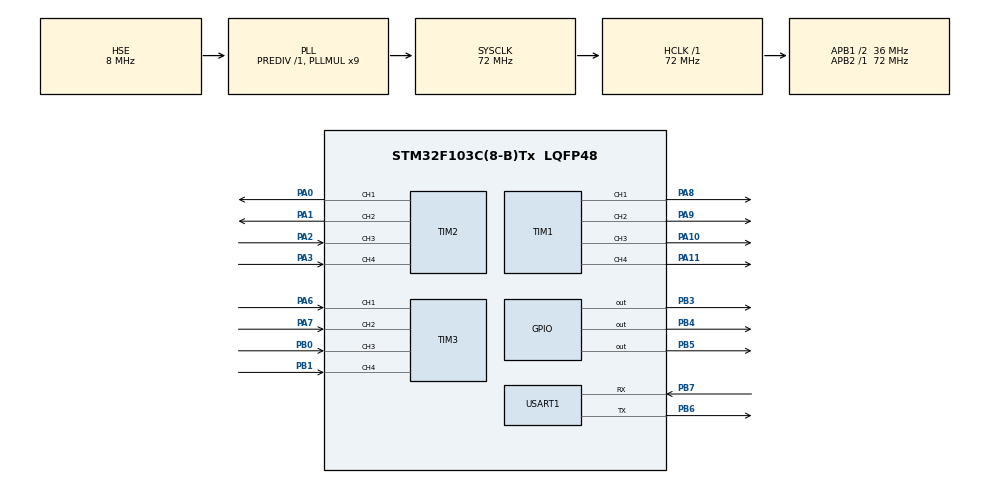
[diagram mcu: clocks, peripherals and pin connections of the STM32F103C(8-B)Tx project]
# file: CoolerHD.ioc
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Mcu.Family=STM32F1
Mcu.Name=STM32F103C(8-B)Tx
Mcu.Package=LQFP48
NVIC.PriorityGroup=NVIC_PRIORITYGROUP_4
PA0-WKUP.Signal=S_TIM2_CH1_ETR
PA1.Signal=S_TIM2_CH2
PA10.Signal=S_TIM1_CH3
PA11.Signal=S_TIM1_CH4
PA13.Mode=Serial_Wire
PA13.Signal=SYS_JTMS-SWDIO
PA14.Mode=Serial_Wire
PA14.Signal=SYS_JTCK-SWCLK
PA2.Signal=S_TIM2_CH3
PA3.Signal=S_TIM2_CH4
PA6.Signal=S_TIM3_CH1
PA7.Signal=S_TIM3_CH2
PA8.Signal=S_TIM1_CH1
PA9.Signal=S_TIM1_CH2
PB0.Signal=S_TIM3_CH3
PB1.Signal=S_TIM3_CH4
PB3.Signal=GPIO_Output
PB4.Signal=GPIO_Output
PB5.Signal=GPIO_Output
PB6.Mode=Asynchronous
PB6.Signal=USART1_TX
PB7.Mode=Asynchronous
PB7.Signal=USART1_RX
PD0-OSC_IN.Mode=HSE-External-Oscillator
PD0-OSC_IN.Signal=RCC_OSC_IN
PD1-OSC_OUT.Mode=HSE-External-Oscillator
PD1-OSC_OUT.Signal=RCC_OSC_OUT
ProjectManager.HeapSize=0x200
ProjectManager.StackSize=0x400
ProjectManager.TargetToolchain=MDK-ARM V5.32
RCC.AHBFreq_Value=72000000
RCC.APB1CLKDivider=RCC_HCLK_DIV2
RCC.APB1Freq_Value=36000000
RCC.APB1TimFreq_Value=72000000
RCC.APB2Freq_Value=72000000
RCC.APB2TimFreq_Value=72000000
RCC.HCLKFreq_Value=72000000
RCC.PLLMUL=RCC_PLL_MUL9
RCC.PLLSourceVirtual=RCC_PLLSOURCE_HSE
RCC.SYSCLKFreq_VALUE=72000000
RCC.SYSCLKSource=RCC_SYSCLKSOURCE_PLLCLK
RCC.USBFreq_Value=72000000
SH.S_TIM1_CH1.0=TIM1_CH1,PWM Generation1 CH1
SH.S_TIM1_CH2.0=TIM1_CH2,PWM Generation2 CH2
SH.S_TIM1_CH3.0=TIM1_CH3,PWM Generation3 CH3
SH.S_TIM1_CH4.0=TIM1_CH4,PWM Generation4 CH4
SH.S_TIM2_CH1_ETR.0=TIM2_CH1,PWM Generation1 CH1
SH.S_TIM2_CH2.0=TIM2_CH2,PWM Generation2 CH2
SH.S_TIM2_CH3.0=TIM2_CH3,Input_Capture3_from_TI3
SH.S_TIM2_CH4.0=TIM2_CH4,Input_Capture4_from_TI4
SH.S_TIM3_CH1.0=TIM3_CH1,Input_Capture1_from_TI1
SH.S_TIM3_CH2.0=TIM3_CH2,Input_Capture2_from_TI2
SH.S_TIM3_CH3.0=TIM3_CH3,Input_Capture3_from_TI3
SH.S_TIM3_CH4.0=TIM3_CH4,Input_Capture4_from_TI4
TIM1.Channel-PWM\ Generation1\ CH1=TIM_CHANNEL_1
TIM1.Channel-PWM\ Generation2\ CH2=TIM_CHANNEL_2
TIM1.Channel-PWM\ Generation3\ CH3=TIM_CHANNEL_3
TIM1.Channel-PWM\ Generation4\ CH4=TIM_CHANNEL_4
TIM2.Channel-Input_Capture3_from_TI3=TIM_CHANNEL_3
TIM2.Channel-Input_Capture4_from_TI4=TIM_CHANNEL_4
TIM2.Channel-PWM\ Generation1\ CH1=TIM_CHANNEL_1
TIM2.Channel-PWM\ Generation2\ CH2=TIM_CHANNEL_2
TIM3.Channel-Input_Capture1_from_TI1=TIM_CHANNEL_1
TIM3.Channel-Input_Capture2_from_TI2=TIM_CHANNEL_2
TIM3.Channel-Input_Capture3_from_TI3=TIM_CHANNEL_3
TIM3.Channel-Input_Capture4_from_TI4=TIM_CHANNEL_4
USART1.VirtualMode=VM_ASYNC
board=custom

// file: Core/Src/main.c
/* USER CODE BEGIN Header */
/**
  ******************************************************************************
  * @file           : main.c
  * @brief          : Main program body
  ******************************************************************************
  * @attention
  *
  * Copyright (c) 2026 STMicroelectronics.
  * All rights reserved.
  *
  * This software is licensed under terms that can be found in the LICENSE file
  * in the root directory of this software component.
  * If no LICENSE file comes with this software, it is provided AS-IS.
  *
  ******************************************************************************
  */
/* USER CODE END Header */
#include "main.h"

/* USER CODE BEGIN Includes */
#include "led.h"
#include "fan.h"
#include "uart_protocol.h"
/* USER CODE END Includes */

TIM_HandleTypeDef htim1;
TIM_HandleTypeDef htim2;
TIM_HandleTypeDef htim3;

UART_HandleTypeDef huart1;

void SystemClock_Config(void);
static void MX_GPIO_Init(void);
static void MX_TIM1_Init(void);
static void MX_TIM2_Init(void);
static void MX_TIM3_Init(void);
static void MX_USART1_UART_Init(void);

int main(void)
{

  /* MCU Configuration--------------------------------------------------------*/

  /* Reset of all peripherals, Initializes the Flash interface and the Systick. */
  HAL_Init();

  /* Configure the system clock */
  SystemClock_Config();

  /* Initialize all configured peripherals */
  MX_GPIO_Init();
  MX_TIM1_Init();
  MX_TIM2_Init();
  MX_TIM3_Init();
  MX_USART1_UART_Init();
  /* USER CODE BEGIN 2 */
  /* Startup power stabilization and guaranteed ST-Link attach window */
  HAL_Delay(300);

  /* Initialize LED indicators & safe JTAG disable (protects SWD) */
  LED_Init();

  /* Initialize 6-channel Fans (TIM1 & TIM2 PWM @ 25kHz, 6 EXTI TACH, DWT cycle timer) */
  Fan_Init(&htim1, &htim2);

  /* Initialize USART1 protocol engine (115200 8-N-1, PB6=TX, PB7=RX) */
  UartProtocol_Init(&huart1);
  /* USER CODE END 2 */

  /* Infinite loop */
  /* USER CODE BEGIN WHILE */
  uint32_t last_fan_control_tick = 0;
  uint32_t last_led_update_tick = 0;

  while (1)
  {
    uint32_t now = HAL_GetTick();

    /* 1. Closed loop fan control task (every 50ms) */
    if (now - last_fan_control_tick >= 50) {
      last_fan_control_tick = now;
      Fan_ControlLoopTask();
    }

    /* 2. LED state check & blinking task (every 50ms) */
    if (now - last_led_update_tick >= 50) {
      last_led_update_tick = now;

      /* Fan 1-3 met -> STATE1 solid ON, else BLINK
       * Fan 4-6 met -> STATE2 solid ON, else BLINK
       * Any Fan speed == 0 -> ERROR BLINK, else OFF
       */
      LED_UpdateFromFans(Fan_IsFans1_3_Met(), Fan_IsFans4_6_Met(), Fan_HasZeroSpeed());
      LED_UpdateTask();
    }

    /* 3. UART protocol task (command processing & 0.5s auto telemetry) */
    UartProtocol_Task();
    /* USER CODE END WHILE */

  }
}

void SystemClock_Config(void)
{
  RCC_OscInitTypeDef RCC_OscInitStruct = {0};
  RCC_ClkInitTypeDef RCC_ClkInitStruct = {0};

  /** Initializes the RCC Oscillators according to the specified parameters
  * in the RCC_OscInitTypeDef structure.
  */
  RCC_OscInitStruct.OscillatorType = RCC_OSCILLATORTYPE_HSE;
  RCC_OscInitStruct.HSEState = RCC_HSE_ON;
  RCC_OscInitStruct.HSEPredivValue = RCC_HSE_PREDIV_DIV1;
  RCC_OscInitStruct.HSIState = RCC_HSI_ON;
  RCC_OscInitStruct.PLL.PLLState = RCC_PLL_ON;
  RCC_OscInitStruct.PLL.PLLSource = RCC_PLLSOURCE_HSE;
  RCC_OscInitStruct.PLL.PLLMUL = RCC_PLL_MUL9;
  if (HAL_RCC_OscConfig(&RCC_OscInitStruct) != HAL_OK)
  {
    Error_Handler();
  }

  /** Initializes the CPU, AHB and APB buses clocks
  */
  RCC_ClkInitStruct.ClockType = RCC_CLOCKTYPE_HCLK|RCC_CLOCKTYPE_SYSCLK
                              |RCC_CLOCKTYPE_PCLK1|RCC_CLOCKTYPE_PCLK2;
  RCC_ClkInitStruct.SYSCLKSource = RCC_SYSCLKSOURCE_PLLCLK;
  RCC_ClkInitStruct.AHBCLKDivider = RCC_SYSCLK_DIV1;
  RCC_ClkInitStruct.APB1CLKDivider = RCC_HCLK_DIV2;
  RCC_ClkInitStruct.APB2CLKDivider = RCC_HCLK_DIV1;

  if (HAL_RCC_ClockConfig(&RCC_ClkInitStruct, FLASH_LATENCY_2) != HAL_OK)
  {
    Error_Handler();
  }
}

static void MX_TIM1_Init(void)
{

  TIM_MasterConfigTypeDef sMasterConfig = {0};
  TIM_OC_InitTypeDef sConfigOC = {0};
  TIM_BreakDeadTimeConfigTypeDef sBreakDeadTimeConfig = {0};

  htim1.Instance = TIM1;
  htim1.Init.Prescaler = 0;
  htim1.Init.CounterMode = TIM_COUNTERMODE_UP;
  htim1.Init.Period = 65535;
  htim1.Init.ClockDivision = TIM_CLOCKDIVISION_DIV1;
  htim1.Init.RepetitionCounter = 0;
  htim1.Init.AutoReloadPreload = TIM_AUTORELOAD_PRELOAD_DISABLE;
  if (HAL_TIM_PWM_Init(&htim1) != HAL_OK)
  {
    Error_Handler();
  }
  sMasterConfig.MasterOutputTrigger = TIM_TRGO_RESET;
  sMasterConfig.MasterSlaveMode = TIM_MASTERSLAVEMODE_DISABLE;
  if (HAL_TIMEx_MasterConfigSynchronization(&htim1, &sMasterConfig) != HAL_OK)
  {
    Error_Handler();
  }
  sConfigOC.OCMode = TIM_OCMODE_PWM1;
  sConfigOC.Pulse = 0;
  sConfigOC.OCPolarity = TIM_OCPOLARITY_HIGH;
  sConfigOC.OCNPolarity = TIM_OCNPOLARITY_HIGH;
  sConfigOC.OCFastMode = TIM_OCFAST_DISABLE;
  sConfigOC.OCIdleState = TIM_OCIDLESTATE_RESET;
  sConfigOC.OCNIdleState = TIM_OCNIDLESTATE_RESET;
  if (HAL_TIM_PWM_ConfigChannel(&htim1, &sConfigOC, TIM_CHANNEL_1) != HAL_OK)
  {
    Error_Handler();
  }
  if (HAL_TIM_PWM_ConfigChannel(&htim1, &sConfigOC, TIM_CHANNEL_2) != HAL_OK)
  {
    Error_Handler();
  }
  if (HAL_TIM_PWM_ConfigChannel(&htim1, &sConfigOC, TIM_CHANNEL_3) != HAL_OK)
  {
    Error_Handler();
  }
  if (HAL_TIM_PWM_ConfigChannel(&htim1, &sConfigOC, TIM_CHANNEL_4) != HAL_OK)
  {
    Error_Handler();
  }
  sBreakDeadTimeConfig.OffStateRunMode = TIM_OSSR_DISABLE;
  sBreakDeadTimeConfig.OffStateIDLEMode = TIM_OSSI_DISABLE;
  sBreakDeadTimeConfig.LockLevel = TIM_LOCKLEVEL_OFF;
  sBreakDeadTimeConfig.DeadTime = 0;
  sBreakDeadTimeConfig.BreakState = TIM_BREAK_DISABLE;
  sBreakDeadTimeConfig.BreakPolarity = TIM_BREAKPOLARITY_HIGH;
  sBreakDeadTimeConfig.AutomaticOutput = TIM_AUTOMATICOUTPUT_DISABLE;
  if (HAL_TIMEx_ConfigBreakDeadTime(&htim1, &sBreakDeadTimeConfig) != HAL_OK)
  {
    Error_Handler();
  }
  HAL_TIM_MspPostInit(&htim1);

}

static void MX_TIM2_Init(void)
{

  TIM_MasterConfigTypeDef sMasterConfig = {0};
  TIM_OC_InitTypeDef sConfigOC = {0};
  TIM_IC_InitTypeDef sConfigIC = {0};

  htim2.Instance = TIM2;
  htim2.Init.Prescaler = 0;
  htim2.Init.CounterMode = TIM_COUNTERMODE_UP;
  htim2.Init.Period = 65535;
  htim2.Init.ClockDivision = TIM_CLOCKDIVISION_DIV1;
  htim2.Init.AutoReloadPreload = TIM_AUTORELOAD_PRELOAD_DISABLE;
  if (HAL_TIM_PWM_Init(&htim2) != HAL_OK)
  {
    Error_Handler();
  }
  if (HAL_TIM_IC_Init(&htim2) != HAL_OK)
  {
    Error_Handler();
  }
  sMasterConfig.MasterOutputTrigger = TIM_TRGO_RESET;
  sMasterConfig.MasterSlaveMode = TIM_MASTERSLAVEMODE_DISABLE;
  if (HAL_TIMEx_MasterConfigSynchronization(&htim2, &sMasterConfig) != HAL_OK)
  {
    Error_Handler();
  }
  sConfigOC.OCMode = TIM_OCMODE_PWM1;
  sConfigOC.Pulse = 0;
  sConfigOC.OCPolarity = TIM_OCPOLARITY_HIGH;
  sConfigOC.OCFastMode = TIM_OCFAST_DISABLE;
  if (HAL_TIM_PWM_ConfigChannel(&htim2, &sConfigOC, TIM_CHANNEL_1) != HAL_OK)
  {
    Error_Handler();
  }
  if (HAL_TIM_PWM_ConfigChannel(&htim2, &sConfigOC, TIM_CHANNEL_2) != HAL_OK)
  {
    Error_Handler();
  }
  sConfigIC.ICPolarity = TIM_INPUTCHANNELPOLARITY_RISING;
  sConfigIC.ICSelection = TIM_ICSELECTION_DIRECTTI;
  sConfigIC.ICPrescaler = TIM_ICPSC_DIV1;
  sConfigIC.ICFilter = 0;
  if (HAL_TIM_IC_ConfigChannel(&htim2, &sConfigIC, TIM_CHANNEL_3) != HAL_OK)
  {
    Error_Handler();
  }
  if (HAL_TIM_IC_ConfigChannel(&htim2, &sConfigIC, TIM_CHANNEL_4) != HAL_OK)
  {
    Error_Handler();
  }
  HAL_TIM_MspPostInit(&htim2);

}

static void MX_TIM3_Init(void)
{

  TIM_MasterConfigTypeDef sMasterConfig = {0};
  TIM_IC_InitTypeDef sConfigIC = {0};

  htim3.Instance = TIM3;
  htim3.Init.Prescaler = 0;
  htim3.Init.CounterMode = TIM_COUNTERMODE_UP;
  htim3.Init.Period = 65535;
  htim3.Init.ClockDivision = TIM_CLOCKDIVISION_DIV1;
  htim3.Init.AutoReloadPreload = TIM_AUTORELOAD_PRELOAD_DISABLE;
  if (HAL_TIM_IC_Init(&htim3) != HAL_OK)
  {
    Error_Handler();
  }
  sMasterConfig.MasterOutputTrigger = TIM_TRGO_RESET;
  sMasterConfig.MasterSlaveMode = TIM_MASTERSLAVEMODE_DISABLE;
  if (HAL_TIMEx_MasterConfigSynchronization(&htim3, &sMasterConfig) != HAL_OK)
  {
    Error_Handler();
  }
  sConfigIC.ICPolarity = TIM_INPUTCHANNELPOLARITY_RISING;
  sConfigIC.ICSelection = TIM_ICSELECTION_DIRECTTI;
  sConfigIC.ICPrescaler = TIM_ICPSC_DIV1;
  sConfigIC.ICFilter = 0;
  if (HAL_TIM_IC_ConfigChannel(&htim3, &sConfigIC, TIM_CHANNEL_1) != HAL_OK)
  {
    Error_Handler();
  }
  if (HAL_TIM_IC_ConfigChannel(&htim3, &sConfigIC, TIM_CHANNEL_2) != HAL_OK)
  {
    Error_Handler();
  }
  if (HAL_TIM_IC_ConfigChannel(&htim3, &sConfigIC, TIM_CHANNEL_3) != HAL_OK)
  {
    Error_Handler();
  }
  if (HAL_TIM_IC_ConfigChannel(&htim3, &sConfigIC, TIM_CHANNEL_4) != HAL_OK)
  {
    Error_Handler();
  }

}

static void MX_USART1_UART_Init(void)
{

  huart1.Instance = USART1;
  huart1.Init.BaudRate = 115200;
  huart1.Init.WordLength = UART_WORDLENGTH_8B;
  huart1.Init.StopBits = UART_STOPBITS_1;
  huart1.Init.Parity = UART_PARITY_NONE;
  huart1.Init.Mode = UART_MODE_TX_RX;
  huart1.Init.HwFlowCtl = UART_HWCONTROL_NONE;
  huart1.Init.OverSampling = UART_OVERSAMPLING_16;
  if (HAL_UART_Init(&huart1) != HAL_OK)
  {
    Error_Handler();
  }

}

static void MX_GPIO_Init(void)
{
  GPIO_InitTypeDef GPIO_InitStruct = {0};

  /* GPIO Ports Clock Enable */
  __HAL_RCC_GPIOD_CLK_ENABLE();
  __HAL_RCC_GPIOA_CLK_ENABLE();
  __HAL_RCC_GPIOB_CLK_ENABLE();

  /*Configure GPIO pin Output Level */
  HAL_GPIO_WritePin(GPIOB, GPIO_PIN_3|GPIO_PIN_4|GPIO_PIN_5, GPIO_PIN_RESET);

  /*Configure GPIO pins : PB3 PB4 PB5 */
  GPIO_InitStruct.Pin = GPIO_PIN_3|GPIO_PIN_4|GPIO_PIN_5;
  GPIO_InitStruct.Mode = GPIO_MODE_OUTPUT_PP;
  GPIO_InitStruct.Pull = GPIO_NOPULL;
  GPIO_InitStruct.Speed = GPIO_SPEED_FREQ_LOW;
  HAL_GPIO_Init(GPIOB, &GPIO_InitStruct);

}

void Error_Handler(void)
{
  __disable_irq();
  while (1)
  {
  }
}
